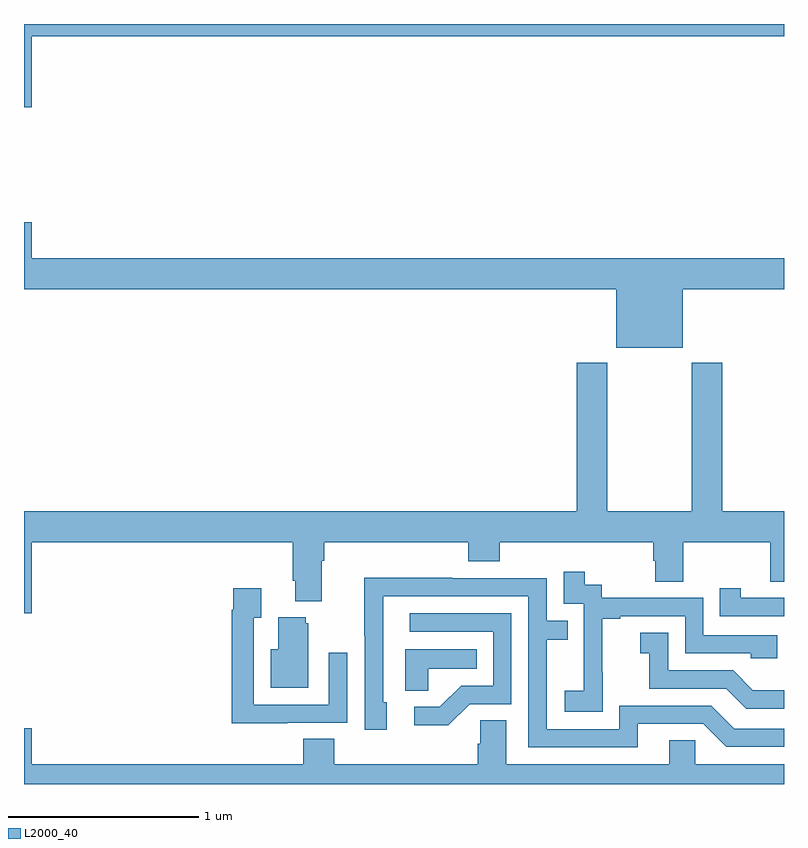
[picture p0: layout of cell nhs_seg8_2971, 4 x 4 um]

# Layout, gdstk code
import gdstk
lib = gdstk.Library(unit=1e-6, precision=1e-09)
def P(c, l, *ps):  # polygons
    for p in ps: c.add(gdstk.Polygon(p, *l))
L2000_40 = (2000, 40)

nhs_seg8_2971 = lib.new_cell('nhs_seg8_2971')
P(nhs_seg8_2971, L2000_40, [(297.04,1113.836),(301,1113.836),(301,1113.9),(297,1113.9),(297,1113.462),(297.04,1113.462)],
  [(300.466,1112.504),(301,1112.504),(301,1112.668),(297.04,1112.668),(297.04,1112.857),(297,1112.857),(297,1112.504),(300.116,1112.504),(300.116,1112.195),(300.466,1112.195)],
  [(297.04,1111.172),(298.415,1111.172),(298.415,1110.97),(298.427,1110.97),(298.427,1110.863),(298.567,1110.863),(298.567,1111.076),(298.58,1111.076),(298.58,1111.172),(299.339,1111.172),(299.339,1111.073),(299.504,1111.073),(299.504,1111.172),(300.311,1111.172),(300.311,1111.074),(300.323,1111.074),(300.323,1110.964),(300.471,1110.964),(300.471,1111.172),(300.928,1111.172),(300.928,1110.964),(301,1110.964),(301,1111.336),(300.674,1111.336),(300.674,1112.116),(300.514,1112.116),(300.514,1111.336),(300.069,1111.336),(300.069,1112.116),(299.909,1112.116),(299.909,1111.336),(297,1111.336),(297,1110.798),(297.04,1110.798)],
  [(300.045,1110.487),(300.044,1110.487),(300.044,1110.771),(300.139,1110.771),(300.139,1110.783),(300.48,1110.783),(300.48,1110.588),(300.825,1110.588),(300.825,1110.561),(300.965,1110.561),(300.965,1110.684),(300.576,1110.684),(300.576,1110.879),(300.042,1110.879),(300.042,1110.948),(299.95,1110.948),(299.95,1111.018),(299.841,1111.018),(299.841,1110.849),(299.946,1110.849),(299.946,1110.62),(299.945,1110.62),(299.945,1110.391),(299.847,1110.391),(299.847,1110.281),(300.045,1110.281)],
  [(300.229,1110.216),(300.576,1110.216),(300.696,1110.096),(301,1110.096),(301,1110.192),(300.738,1110.192),(300.618,1110.312),(300.132,1110.312),(300.132,1110.189),(299.751,1110.189),(299.751,1110.658),(299.861,1110.658),(299.861,1110.759),(299.751,1110.759),(299.751,1110.984),(299.255,1110.984),(299.255,1110.986),(298.792,1110.986),(298.792,1110.679),(298.794,1110.679),(298.794,1110.186),(298.909,1110.186),(298.909,1110.33),(298.89,1110.33),(298.89,1110.888),(299.655,1110.888),(299.655,1110.093),(300.229,1110.093)],
  [(301,1110.879),(300.772,1110.879),(300.772,1110.931),(300.661,1110.931),(300.661,1110.783),(301,1110.783)],
  [(298.385,1110.222),(298.701,1110.222),(298.701,1110.592),(298.605,1110.592),(298.605,1110.318),(298.209,1110.318),(298.209,1110.775),(298.249,1110.775),(298.249,1110.931),(298.101,1110.931),(298.101,1110.818),(298.093,1110.818),(298.093,1110.221),(298.385,1110.221)],
  [(299.346,1110.321),(299.565,1110.321),(299.565,1110.798),(299.031,1110.798),(299.031,1110.702),(299.469,1110.702),(299.469,1110.417),(299.3,1110.417),(299.189,1110.306),(299.055,1110.306),(299.055,1110.209),(299.233,1110.209)],
  [(298.495,1110.747),(298.484,1110.747),(298.484,1110.778),(298.337,1110.778),(298.337,1110.61),(298.298,1110.61),(298.298,1110.407),(298.495,1110.407)],
  [(301,1110.394),(300.836,1110.394),(300.732,1110.498),(300.39,1110.498),(300.39,1110.697),(300.243,1110.697),(300.243,1110.587),(300.292,1110.587),(300.292,1110.402),(300.695,1110.402),(300.8,1110.297),(301,1110.297)],
  [(299.127,1110.506),(299.384,1110.506),(299.384,1110.61),(299.006,1110.61),(299.006,1110.391),(299.127,1110.391)],
  [(301,1110.004),(300.534,1110.004),(300.534,1110.131),(300.395,1110.131),(300.395,1110.004),(299.539,1110.004),(299.539,1110.236),(299.4,1110.236),(299.4,1110.113),(299.387,1110.113),(299.387,1110.004),(298.634,1110.004),(298.634,1110.137),(298.469,1110.137),(298.469,1110.004),(297.04,1110.004),(297.04,1110.193),(297,1110.193),(297,1109.9),(301,1109.9)])

lib.write_gds('nhs_seg8_2971.gds')
